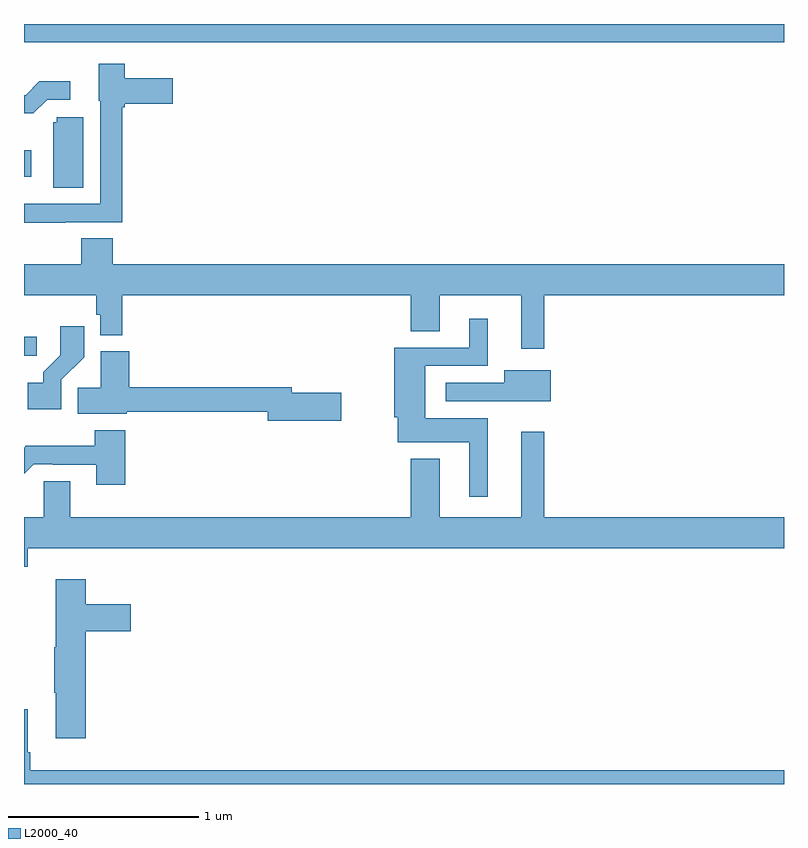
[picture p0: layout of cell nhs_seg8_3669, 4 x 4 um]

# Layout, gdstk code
import gdstk
lib = gdstk.Library(unit=1e-6, precision=1e-09)
def R(c, l, rs):  # rectangles x0, y0, x1, y1
    for r in rs: c.add(gdstk.rectangle(r[:2], r[2:], *l))
def P(c, l, *ps):  # polygons
    for p in ps: c.add(gdstk.Polygon(p, *l))
L2000_40 = (2000, 40)

nhs_seg8_3669 = lib.new_cell('nhs_seg8_3669')
R(nhs_seg8_3669, L2000_40, [(337,1144.155,337.066,1144.254), (337,1145.096,337.039,1145.236), (337,1145.804,341,1145.9)])
P(nhs_seg8_3669, L2000_40, [(337.217,1144.857),(337.517,1144.857),(337.517,1145.462),(337.53,1145.462),(337.53,1145.48),(337.783,1145.48),(337.783,1145.614),(337.53,1145.614),(337.53,1145.692),(337.394,1145.692),(337.394,1145.496),(337.401,1145.496),(337.401,1144.953),(337,1144.953),(337,1144.855),(337.217,1144.855)],
  [(337.122,1145.502),(337.243,1145.502),(337.243,1145.599),(337.081,1145.599),(337.008,1145.526),(337,1145.526),(337,1145.429),(337.049,1145.429)],
  [(337.312,1145.409),(337.173,1145.409),(337.173,1145.382),(337.154,1145.382),(337.154,1145.038),(337.312,1145.038)],
  [(337.466,1144.772),(337.301,1144.772),(337.301,1144.636),(337,1144.636),(337,1144.472),(337.381,1144.472),(337.381,1144.371),(337.401,1144.371),(337.401,1144.262),(337.517,1144.262),(337.517,1144.472),(339.035,1144.472),(339.035,1144.282),(339.187,1144.282),(339.187,1144.472),(339.617,1144.472),(339.617,1144.191),(339.739,1144.191),(339.739,1144.472),(341,1144.472),(341,1144.636),(337.466,1144.636)],
  [(339.442,1143.826),(339.112,1143.826),(339.112,1144.101),(339.442,1144.101),(339.442,1144.348),(339.344,1144.348),(339.344,1144.197),(338.948,1144.197),(338.948,1143.831),(338.966,1143.831),(338.966,1143.698),(339.344,1143.698),(339.344,1143.411),(339.442,1143.411)],
  [(337.197,1144.027),(337.316,1144.146),(337.316,1144.309),(337.191,1144.309),(337.191,1144.157),(337.1,1144.067),(337.1,1144.012),(337.02,1144.012),(337.02,1143.872),(337.197,1143.872)],
  [(338.671,1143.959),(338.41,1143.959),(338.41,1143.988),(337.553,1143.988),(337.553,1144.177),(337.403,1144.177),(337.403,1143.986),(337.282,1143.986),(337.282,1143.848),(337.54,1143.848),(337.54,1143.859),(338.282,1143.859),(338.282,1143.812),(338.671,1143.812)],
  [(339.772,1144.078),(339.527,1144.078),(339.527,1144.011),(339.219,1144.011),(339.219,1143.915),(339.531,1143.915),(339.531,1143.914),(339.772,1143.914)],
  [(337.532,1143.763),(337.372,1143.763),(337.372,1143.679),(337.009,1143.679),(337,1143.67),(337,1143.532),(337.05,1143.582),(337.15,1143.582),(337.15,1143.579),(337.379,1143.579),(337.379,1143.474),(337.532,1143.474)],
  [(337.019,1143.14),(341,1143.14),(341,1143.304),(339.739,1143.304),(339.739,1143.754),(339.617,1143.754),(339.617,1143.304),(339.187,1143.304),(339.187,1143.613),(339.035,1143.613),(339.035,1143.304),(337.243,1143.304),(337.243,1143.494),(337.104,1143.494),(337.104,1143.304),(337,1143.304),(337,1143.044),(337.019,1143.044)],
  [(337.325,1142.705),(337.561,1142.705),(337.561,1142.847),(337.325,1142.847),(337.325,1142.977),(337.166,1142.977),(337.166,1142.621),(337.159,1142.621),(337.159,1142.38),(337.166,1142.38),(337.166,1142.142),(337.325,1142.142)],
  [(341,1141.972),(337.034,1141.972),(337.034,1142.068),(337.021,1142.068),(337.021,1142.293),(337,1142.293),(337,1141.9),(341,1141.9)])

lib.write_gds('nhs_seg8_3669.gds')
